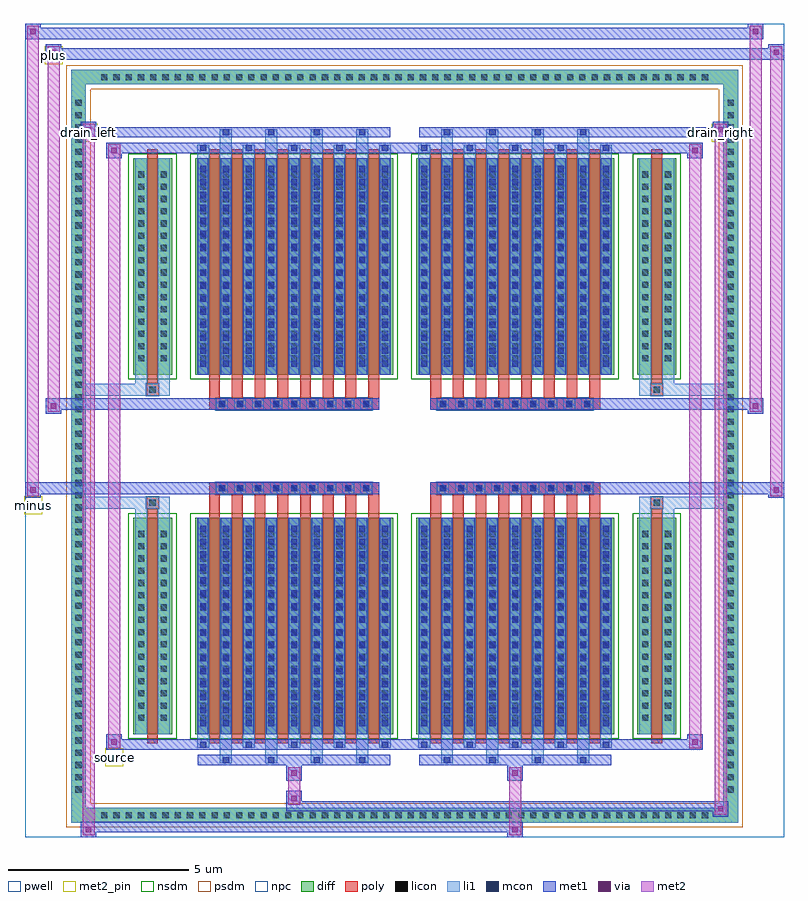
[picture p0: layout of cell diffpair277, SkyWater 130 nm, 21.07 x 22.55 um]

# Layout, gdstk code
import gdstk
lib = gdstk.Library(unit=1e-6, precision=5e-09)
def R(c, l, rs):  # rectangles x0, y0, x1, y1
    for r in rs: c.add(gdstk.rectangle(r[:2], r[2:], *l))
def A(c, l, x, y, w, h, nx, ny, dx, dy):  # array of equal rectangles
    R(c, l, [(x+i*dx, y+j*dy, x+i*dx+w, y+j*dy+h) for i in range(nx) for j in range(ny)])
def P(c, l, *ps):  # polygons
    for p in ps: c.add(gdstk.Polygon(p, *l))
pwell = (64, 44)
diff = (65, 20)
poly = (66, 20)
licon = (66, 44)
li1 = (67, 20)
mcon = (67, 44)
met1 = (68, 20)
via = (68, 44)
met2_pin = (69, 16)
met2 = (69, 20)
nsdm = (93, 44)
psdm = (94, 20)
npc = (95, 20)

diffpair277 = lib.new_cell('diffpair277')
R(diffpair277, pwell, [(-10.52,-10.84,10.52,11.71), (-7.84,-9.03,-0.01,-0.805), (0.01,-9.03,7.84,-0.805), (-7.84,0.805,-0.01,9.03), (0.01,0.805,7.84,9.03)])
A(diffpair277, diff, -8.535, -10.44, 0.41, 0.41, 50, 2, 0.34, 20.47)
A(diffpair277, diff, -9.25, -9.725, 0.41, 0.41, 1, 57, 0, 0.34)
A(diffpair277, diff, 8.84, -9.725, 0.41, 0.41, 1, 57, 0, 0.34)
R(diffpair277, diff, [(-8.535,-10.44,8.535,-10.03), (-9.25,-9.725,-8.84,9.725), (8.84,-9.725,9.25,9.725), (-7.53,-7.985,-6.45,-1.985), (-5.81,-7.985,-0.32,-1.985), (0.32,-7.985,5.81,-1.985), (6.45,-7.985,7.53,-1.985), (-7.53,1.985,-6.45,7.985), (-5.81,1.985,-0.32,7.985), (0.32,1.985,5.81,7.985), (6.45,1.985,7.53,7.985), (-8.535,10.03,8.535,10.44)])
P(diffpair277, diff, [(9.25,10.44),(-9.25,10.44),(-9.25,-10.03),(-8.84,-10.03),(-8.84,10.03),(8.84,10.03),(8.84,-10.03),(-8.84,-10.03),(-9.25,-10.03),(-9.25,-10.44),(9.25,-10.44)])
A(diffpair277, poly, -5.42, -8.235, 0.3, 6.5, 8, 2, 0.63, 9.97)
A(diffpair277, poly, 0.71, -8.235, 0.3, 6.5, 8, 2, 0.63, 9.97)
A(diffpair277, poly, -5.42, -1.735, 0.3, 0.4, 8, 2, 0.63, 3.07)
A(diffpair277, poly, 0.71, -1.735, 0.3, 0.4, 8, 2, 0.63, 3.07)
A(diffpair277, poly, -5.23, -1.335, 0.33, 0.33, 9, 2, 0.5, 2.34)
A(diffpair277, poly, 0.9, -1.335, 0.33, 0.33, 9, 2, 0.5, 2.34)
R(diffpair277, poly, [(-7.14,-8.235,-6.84,-1.735), (6.84,-8.235,7.14,-1.735), (-7.155,-1.735,-6.825,-1.405), (-7.155,-1.735,-6.825,-1.405), (6.825,-1.735,7.155,-1.405), (6.825,-1.735,7.155,-1.405), (-5.42,-1.335,-0.71,-1.005), (0.71,-1.335,5.42,-1.005), (-5.42,1.005,-0.71,1.335), (0.71,1.005,5.42,1.335), (-7.155,1.405,-6.825,1.735), (-7.155,1.405,-6.825,1.735), (6.825,1.405,7.155,1.735), (6.825,1.405,7.155,1.735), (-7.14,1.735,-6.84,8.235), (6.84,1.735,7.14,8.235)])
A(diffpair277, licon, -8.415, -10.32, 0.17, 0.17, 50, 2, 0.34, 20.47)
A(diffpair277, licon, -9.13, -9.605, 0.17, 0.17, 1, 57, 0, 0.34)
A(diffpair277, licon, 8.96, -9.605, 0.17, 0.17, 1, 57, 0, 0.34)
A(diffpair277, licon, -7.39, -7.62, 0.17, 0.17, 1, 16, 0, 0.34)
A(diffpair277, licon, -6.76, -7.62, 0.17, 0.17, 1, 16, 0, 0.34)
A(diffpair277, licon, -5.67, -7.62, 0.17, 0.17, 9, 16, 0.63, 0.34)
A(diffpair277, licon, 0.46, -7.62, 0.17, 0.17, 9, 16, 0.63, 0.34)
A(diffpair277, licon, 6.59, -7.62, 0.17, 0.17, 1, 16, 0, 0.34)
A(diffpair277, licon, 7.22, -7.62, 0.17, 0.17, 1, 16, 0, 0.34)
A(diffpair277, licon, -5.15, -1.255, 0.17, 0.17, 9, 2, 0.5, 2.34)
A(diffpair277, licon, 0.98, -1.255, 0.17, 0.17, 9, 2, 0.5, 2.34)
A(diffpair277, licon, -7.39, 2.35, 0.17, 0.17, 1, 16, 0, 0.34)
A(diffpair277, licon, -6.76, 2.35, 0.17, 0.17, 1, 16, 0, 0.34)
A(diffpair277, licon, -5.67, 2.35, 0.17, 0.17, 9, 16, 0.63, 0.34)
A(diffpair277, licon, 0.46, 2.35, 0.17, 0.17, 9, 16, 0.63, 0.34)
A(diffpair277, licon, 6.59, 2.35, 0.17, 0.17, 1, 16, 0, 0.34)
A(diffpair277, licon, 7.22, 2.35, 0.17, 0.17, 1, 16, 0, 0.34)
R(diffpair277, licon, [(-7.075,-1.655,-6.905,-1.485), (6.905,-1.655,7.075,-1.485), (-7.075,1.485,-6.905,1.655), (6.905,1.485,7.075,1.655)])
A(diffpair277, li1, -8.495, -10.4, 0.33, 0.33, 50, 2, 0.34, 20.47)
A(diffpair277, li1, -9.21, -9.685, 0.33, 0.33, 1, 57, 0, 0.34)
A(diffpair277, li1, 8.88, -9.685, 0.33, 0.33, 1, 57, 0, 0.34)
A(diffpair277, li1, -5.12, -8.79, 0.33, 0.805, 4, 2, 1.26, 16.775)
A(diffpair277, li1, -5.04, -8.79, 0.17, 0.17, 4, 2, 1.26, 17.41)
A(diffpair277, li1, 1.01, -8.79, 0.33, 0.805, 4, 2, 1.26, 16.775)
A(diffpair277, li1, 1.09, -8.79, 0.17, 0.17, 4, 2, 1.26, 17.41)
A(diffpair277, li1, -5.75, -8.36, 0.33, 0.375, 5, 2, 1.26, 16.345)
A(diffpair277, li1, -5.67, -8.36, 0.17, 0.17, 5, 2, 1.26, 16.55)
A(diffpair277, li1, 0.38, -8.36, 0.33, 0.375, 5, 2, 1.26, 16.345)
A(diffpair277, li1, 0.46, -8.36, 0.17, 0.17, 5, 2, 1.26, 16.55)
A(diffpair277, li1, -5.75, -7.985, 0.33, 6, 9, 2, 0.63, 9.97)
A(diffpair277, li1, 0.38, -7.985, 0.33, 6, 9, 2, 0.63, 9.97)
A(diffpair277, li1, -5.67, -7.77, 0.17, 0.17, 9, 16, 0.63, 0.36)
A(diffpair277, li1, -5.67, -7.77, 0.17, 5.57, 9, 2, 0.63, 9.97)
A(diffpair277, li1, 0.46, -7.77, 0.17, 0.17, 9, 16, 0.63, 0.36)
A(diffpair277, li1, 0.46, -7.77, 0.17, 5.57, 9, 2, 0.63, 9.97)
A(diffpair277, li1, -7.47, -7.7, 0.33, 0.33, 1, 16, 0, 0.34)
A(diffpair277, li1, -6.84, -7.7, 0.33, 0.33, 1, 16, 0, 0.34)
A(diffpair277, li1, -5.75, -7.7, 0.33, 0.33, 9, 16, 0.63, 0.34)
A(diffpair277, li1, 0.38, -7.7, 0.33, 0.33, 9, 16, 0.63, 0.34)
A(diffpair277, li1, 6.51, -7.7, 0.33, 0.33, 1, 16, 0, 0.34)
A(diffpair277, li1, 7.14, -7.7, 0.33, 0.33, 1, 16, 0, 0.34)
A(diffpair277, li1, -5.23, -1.335, 0.33, 0.33, 9, 2, 0.5, 2.34)
A(diffpair277, li1, 0.9, -1.335, 0.33, 0.33, 9, 2, 0.5, 2.34)
A(diffpair277, li1, -5.67, 2.2, 0.17, 0.17, 9, 16, 0.63, 0.36)
A(diffpair277, li1, 0.46, 2.2, 0.17, 0.17, 9, 16, 0.63, 0.36)
A(diffpair277, li1, -7.47, 2.27, 0.33, 0.33, 1, 16, 0, 0.34)
A(diffpair277, li1, -6.84, 2.27, 0.33, 0.33, 1, 16, 0, 0.34)
A(diffpair277, li1, -5.75, 2.27, 0.33, 0.33, 9, 16, 0.63, 0.34)
A(diffpair277, li1, 0.38, 2.27, 0.33, 0.33, 9, 16, 0.63, 0.34)
A(diffpair277, li1, 6.51, 2.27, 0.33, 0.33, 1, 16, 0, 0.34)
A(diffpair277, li1, 7.14, 2.27, 0.33, 0.33, 1, 16, 0, 0.34)
R(diffpair277, li1, [(-9.25,-10.44,-8.84,-10.03), (-9.25,-10.44,-8.84,-10.03), (-8.84,-10.44,8.84,-10.03), (8.84,-10.44,9.25,-10.03), (8.84,-10.44,9.25,-10.03), (-9.25,-10.03,-8.84,10.03), (8.84,-10.03,9.25,10.03), (-7.47,-7.985,-7.14,-1.985), (-6.84,-7.985,-6.51,-1.985), (6.51,-7.985,6.84,-1.985), (7.14,-7.985,7.47,-1.985), (-7.47,-1.985,-7.14,-1.405), (-6.84,-1.985,-6.51,-1.405), (6.51,-1.985,6.84,-1.405), (7.14,-1.985,7.47,-1.405), (-9.25,-1.735,-7.155,-1.405), (-7.47,-1.735,-7.155,-1.405), (-7.155,-1.735,-6.825,-1.405), (-6.825,-1.735,-6.51,-1.405), (6.51,-1.735,6.825,-1.405), (6.825,-1.735,7.155,-1.405), (6.825,-1.735,9.25,-1.405), (7.155,-1.735,7.47,-1.405), (-9.25,1.405,-7.155,1.735), (-7.47,1.405,-7.155,1.735), (-7.47,1.405,-7.14,1.985), (-7.155,1.405,-6.825,1.735), (-6.84,1.405,-6.51,1.985), (-6.825,1.405,-6.51,1.735), (6.51,1.405,6.825,1.735), (6.51,1.405,6.84,1.985), (6.825,1.405,7.155,1.735), (6.825,1.405,9.25,1.735), (7.14,1.405,7.47,1.985), (7.155,1.405,7.47,1.735), (-7.47,1.985,-7.14,7.985), (-6.84,1.985,-6.51,7.985), (6.51,1.985,6.84,7.985), (7.14,1.985,7.47,7.985), (-9.25,10.03,-8.84,10.44), (-9.25,10.03,-8.84,10.44), (-8.84,10.03,8.84,10.44), (8.84,10.03,9.25,10.44), (8.84,10.03,9.25,10.44)])
A(diffpair277, mcon, -5.04, -8.79, 0.17, 0.17, 4, 2, 1.26, 17.41)
A(diffpair277, mcon, 1.09, -8.79, 0.17, 0.17, 4, 2, 1.26, 17.41)
A(diffpair277, mcon, -5.67, -8.36, 0.17, 0.17, 5, 2, 1.26, 16.55)
A(diffpair277, mcon, 0.46, -8.36, 0.17, 0.17, 5, 2, 1.26, 16.55)
A(diffpair277, mcon, -5.67, -7.77, 0.17, 0.17, 9, 16, 0.63, 0.36)
A(diffpair277, mcon, 0.46, -7.77, 0.17, 0.17, 9, 16, 0.63, 0.36)
A(diffpair277, mcon, -5.15, -1.255, 0.17, 0.17, 9, 2, 0.5, 2.34)
A(diffpair277, mcon, 0.98, -1.255, 0.17, 0.17, 9, 2, 0.5, 2.34)
A(diffpair277, mcon, -5.67, 2.2, 0.17, 0.17, 9, 16, 0.63, 0.36)
A(diffpair277, mcon, 0.46, 2.2, 0.17, 0.17, 9, 16, 0.63, 0.36)
A(diffpair277, met1, -5.1, -8.85, 0.29, 0.29, 4, 2, 1.26, 17.41)
A(diffpair277, met1, 1.03, -8.85, 0.29, 0.29, 4, 2, 1.26, 17.41)
A(diffpair277, met1, -5.73, -8.42, 0.29, 0.29, 5, 2, 1.26, 16.55)
A(diffpair277, met1, 0.4, -8.42, 0.29, 0.29, 5, 2, 1.26, 16.55)
A(diffpair277, met1, -5.73, -7.985, 0.29, 6, 9, 2, 0.63, 9.97)
A(diffpair277, met1, 0.4, -7.985, 0.29, 6, 9, 2, 0.63, 9.97)
A(diffpair277, met1, -5.73, -7.83, 0.29, 0.29, 9, 16, 0.63, 0.36)
A(diffpair277, met1, 0.4, -7.83, 0.29, 0.29, 9, 16, 0.63, 0.36)
A(diffpair277, met1, -5.21, -1.315, 0.29, 0.29, 9, 2, 0.5, 2.34)
A(diffpair277, met1, 0.92, -1.315, 0.29, 0.29, 9, 2, 0.5, 2.34)
A(diffpair277, met1, -5.73, 2.14, 0.29, 0.29, 9, 16, 0.63, 0.36)
A(diffpair277, met1, 0.4, 2.14, 0.29, 0.29, 9, 16, 0.63, 0.36)
R(diffpair277, met1, [(-8.98,-10.84,-8.55,-10.41), (2.85,-10.84,3.28,-10.41), (-8.98,-10.7,3.28,-10.41), (8.55,-10.27,8.98,-9.84), (-3.28,-10.13,8.98,-9.84), (-3.28,-9.99,-2.85,-9.56), (-3.28,-9.28,-2.85,-8.85), (2.85,-9.28,3.28,-8.85), (-5.73,-8.85,-0.4,-8.56), (0.4,-8.85,5.73,-8.56), (-8.27,-8.42,-7.84,-7.99), (-8.27,-8.42,-5.73,-8.13), (-5.73,-8.42,-0.4,-8.13), (-0.4,-8.42,0.4,-8.13), (0.4,-8.42,5.73,-8.13), (5.73,-8.42,8.27,-8.13), (7.84,-8.42,8.27,-7.99), (-10.52,-1.435,-10.09,-1.005), (10.09,-1.435,10.52,-1.005), (-10.52,-1.335,-0.71,-1.005), (-5.42,-1.335,-0.71,-1.005), (0.71,-1.335,5.42,-1.005), (0.71,-1.335,10.52,-1.005), (-9.95,0.905,-9.52,1.335), (9.52,0.905,9.95,1.335), (-9.95,1.005,-5.42,1.335), (-5.42,1.005,-0.71,1.335), (0.71,1.005,5.42,1.335), (5.42,1.005,9.95,1.335), (-8.27,7.99,-7.84,8.42), (7.84,7.99,8.27,8.42), (-8.27,8.13,-5.73,8.42), (-5.73,8.13,-0.4,8.42), (-0.4,8.13,0.4,8.42), (0.4,8.13,5.73,8.42), (5.73,8.13,8.27,8.42), (-8.98,8.56,-8.55,8.99), (-8.98,8.56,-5.73,8.85), (-5.73,8.56,-0.4,8.85), (0.4,8.56,5.73,8.85), (5.73,8.56,8.98,8.85), (8.55,8.56,8.98,8.99), (-9.95,10.71,-9.52,11.14), (-9.95,10.71,-7.84,11.04), (-7.84,10.71,7.84,11.04), (7.84,10.71,10.52,11.04), (10.09,10.71,10.52,11.14), (-10.52,11.28,-10.09,11.71), (-10.52,11.28,-7.84,11.61), (-7.84,11.28,7.84,11.61), (7.84,11.28,9.95,11.61), (9.52,11.28,9.95,11.71)])
R(diffpair277, via, [(-8.84,-10.7,-8.69,-10.55), (2.99,-10.7,3.14,-10.55), (8.69,-10.13,8.84,-9.98), (-3.14,-9.85,-2.99,-9.7), (-3.14,-9.14,-2.99,-8.99), (2.99,-9.14,3.14,-8.99), (-8.13,-8.28,-7.98,-8.13), (7.98,-8.28,8.13,-8.13), (-10.38,-1.295,-10.23,-1.145), (10.23,-1.295,10.38,-1.145), (-9.81,1.045,-9.66,1.195), (9.66,1.045,9.81,1.195), (-8.13,8.13,-7.98,8.28), (7.98,8.13,8.13,8.28), (-8.84,8.7,-8.69,8.85), (8.69,8.7,8.84,8.85), (-9.81,10.85,-9.66,11), (10.23,10.85,10.38,11), (-10.38,11.42,-10.23,11.57), (9.66,11.42,9.81,11.57)])
R(diffpair277, met2_pin, [(-8.305,-8.87,-7.805,-8.37), (-10.555,-1.885,-10.055,-1.385), (-9.015,8.44,-8.515,8.94), (8.515,8.44,9.015,8.94), (-9.985,10.59,-9.485,11.09)])
R(diffpair277, met2, [(-8.93,-10.79,-8.6,-10.46), (-8.93,-10.79,-8.6,8.94), (2.9,-10.79,3.23,-10.46), (2.9,-10.46,3.23,-9.23), (8.6,-10.22,8.93,-9.89), (8.6,-10.22,8.93,8.94), (-3.23,-9.94,-2.9,-9.61), (-3.23,-9.61,-2.9,-9.23), (-3.23,-9.23,-2.9,-8.9), (2.9,-9.23,3.23,-8.9), (-8.22,-8.37,-7.89,-8.04), (-8.22,-8.37,-7.89,8.37), (7.89,-8.37,8.22,-8.04), (7.89,-8.37,8.22,8.37), (-10.47,-1.385,-10.14,-1.055), (-10.47,-1.385,-10.14,11.66), (10.14,-1.385,10.47,-1.055), (10.14,-1.385,10.47,11.09), (-9.9,0.955,-9.57,1.285), (-9.9,0.955,-9.57,11.09), (9.57,0.955,9.9,1.285), (9.57,0.955,9.9,11.66), (-8.22,8.04,-7.89,8.37), (7.89,8.04,8.22,8.37), (-8.93,8.61,-8.6,8.94), (8.6,8.61,8.93,8.94), (-9.9,10.76,-9.57,11.09), (10.14,10.76,10.47,11.09), (-10.47,11.33,-10.14,11.66), (9.57,11.33,9.9,11.66)])
P(diffpair277, met2, [(10.47,-1.385),(10.47,-1.385),(10.47,-1.055),(10.47,-1.055)],
  [(10.47,10.76),(10.47,10.76),(10.47,11.09),(10.47,11.09)],
  [(-10.14,-1.385),(-10.14,-1.385),(-10.14,-1.055),(-10.14,-1.055)],
  [(-10.14,11.33),(-10.14,11.33),(-10.14,11.66),(-10.14,11.66)],
  [(9.9,0.955),(9.9,0.955),(9.9,1.285),(9.9,1.285)],
  [(9.9,11.33),(9.9,11.33),(9.9,11.66),(9.9,11.66)],
  [(-9.57,0.955),(-9.57,0.955),(-9.57,1.285),(-9.57,1.285)],
  [(-9.57,10.76),(-9.57,10.76),(-9.57,11.09),(-9.57,11.09)],
  [(-8.6,-10.79),(-8.6,-10.79),(-8.6,-10.46),(-8.6,-10.46)],
  [(-8.6,8.61),(-8.6,8.61),(-8.6,8.94),(-8.6,8.94)],
  [(8.93,-10.22),(8.93,-10.22),(8.93,-9.89),(8.93,-9.89)],
  [(8.93,8.61),(8.93,8.61),(8.93,8.94),(8.93,8.94)],
  [(-7.89,-8.37),(-7.89,-8.37),(-7.89,-8.04),(-7.89,-8.04)],
  [(-7.89,8.04),(-7.89,8.04),(-7.89,8.37),(-7.89,8.37)],
  [(8.22,-8.37),(8.22,-8.37),(8.22,-8.04),(8.22,-8.04)],
  [(8.22,8.04),(8.22,8.04),(8.22,8.37),(8.22,8.37)])
R(diffpair277, nsdm, [(-7.66,-8.115,-6.32,-1.855), (-5.94,-8.115,-0.19,-1.855), (0.19,-8.115,5.94,-1.855), (6.32,-8.115,7.66,-1.855), (-7.66,1.855,-6.32,8.115), (-5.94,1.855,-0.19,8.115), (0.19,1.855,5.94,8.115), (6.32,1.855,7.66,8.115)])
P(diffpair277, psdm, [(9.38,10.57),(-9.38,10.57),(-9.38,-9.9),(-8.71,-9.9),(-8.71,9.9),(8.71,9.9),(8.71,-9.9),(-8.71,-9.9),(-9.38,-9.9),(-9.38,-10.57),(9.38,-10.57)])
A(diffpair277, npc, -5.25, -1.355, 0.37, 0.37, 9, 2, 0.5, 2.34)
A(diffpair277, npc, 0.88, -1.355, 0.37, 0.37, 9, 2, 0.5, 2.34)
R(diffpair277, npc, [(-7.175,-1.755,-6.805,-1.385), (6.805,-1.755,7.175,-1.385), (-5.25,-1.355,-4.38,-0.985), (-5.25,-1.355,-4.38,-0.985), (-4.75,-1.355,-3.88,-0.985), (-4.75,-1.355,-3.88,-0.985), (-4.25,-1.355,-3.38,-0.985), (-4.25,-1.355,-3.38,-0.985), (-3.75,-1.355,-2.88,-0.985), (-3.75,-1.355,-2.88,-0.985), (-3.25,-1.355,-2.38,-0.985), (-3.25,-1.355,-2.38,-0.985), (-2.75,-1.355,-1.88,-0.985), (-2.75,-1.355,-1.88,-0.985), (-2.25,-1.355,-1.38,-0.985), (-2.25,-1.355,-1.38,-0.985), (-1.75,-1.355,-0.88,-0.985), (-1.75,-1.355,-0.88,-0.985), (0.88,-1.355,1.75,-0.985), (0.88,-1.355,1.75,-0.985), (1.38,-1.355,2.25,-0.985), (1.38,-1.355,2.25,-0.985), (1.88,-1.355,2.75,-0.985), (1.88,-1.355,2.75,-0.985), (2.38,-1.355,3.25,-0.985), (2.38,-1.355,3.25,-0.985), (2.88,-1.355,3.75,-0.985), (2.88,-1.355,3.75,-0.985), (3.38,-1.355,4.25,-0.985), (3.38,-1.355,4.25,-0.985), (3.88,-1.355,4.75,-0.985), (3.88,-1.355,4.75,-0.985), (4.38,-1.355,5.25,-0.985), (4.38,-1.355,5.25,-0.985), (-5.25,0.985,-4.38,1.355), (-5.25,0.985,-4.38,1.355), (-4.75,0.985,-3.88,1.355), (-4.75,0.985,-3.88,1.355), (-4.25,0.985,-3.38,1.355), (-4.25,0.985,-3.38,1.355), (-3.75,0.985,-2.88,1.355), (-3.75,0.985,-2.88,1.355), (-3.25,0.985,-2.38,1.355), (-3.25,0.985,-2.38,1.355), (-2.75,0.985,-1.88,1.355), (-2.75,0.985,-1.88,1.355), (-2.25,0.985,-1.38,1.355), (-2.25,0.985,-1.38,1.355), (-1.75,0.985,-0.88,1.355), (-1.75,0.985,-0.88,1.355), (0.88,0.985,1.75,1.355), (0.88,0.985,1.75,1.355), (1.38,0.985,2.25,1.355), (1.38,0.985,2.25,1.355), (1.88,0.985,2.75,1.355), (1.88,0.985,2.75,1.355), (2.38,0.985,3.25,1.355), (2.38,0.985,3.25,1.355), (2.88,0.985,3.75,1.355), (2.88,0.985,3.75,1.355), (3.38,0.985,4.25,1.355), (3.38,0.985,4.25,1.355), (3.88,0.985,4.75,1.355), (3.88,0.985,4.75,1.355), (4.38,0.985,5.25,1.355), (4.38,0.985,5.25,1.355), (-7.175,1.385,-6.805,1.755), (6.805,1.385,7.175,1.755)])
diffpair277.add(gdstk.Label('minus', (-10.305,-1.635), layer=69, texttype=5))
diffpair277.add(gdstk.Label('drain_right', (8.765,8.69), layer=69, texttype=5))
diffpair277.add(gdstk.Label('drain_left', (-8.765,8.69), layer=69, texttype=5))
diffpair277.add(gdstk.Label('source', (-8.055,-8.62), layer=69, texttype=5))
diffpair277.add(gdstk.Label('plus', (-9.735,10.84), layer=69, texttype=5))

lib.write_gds('diffpair277.gds')
